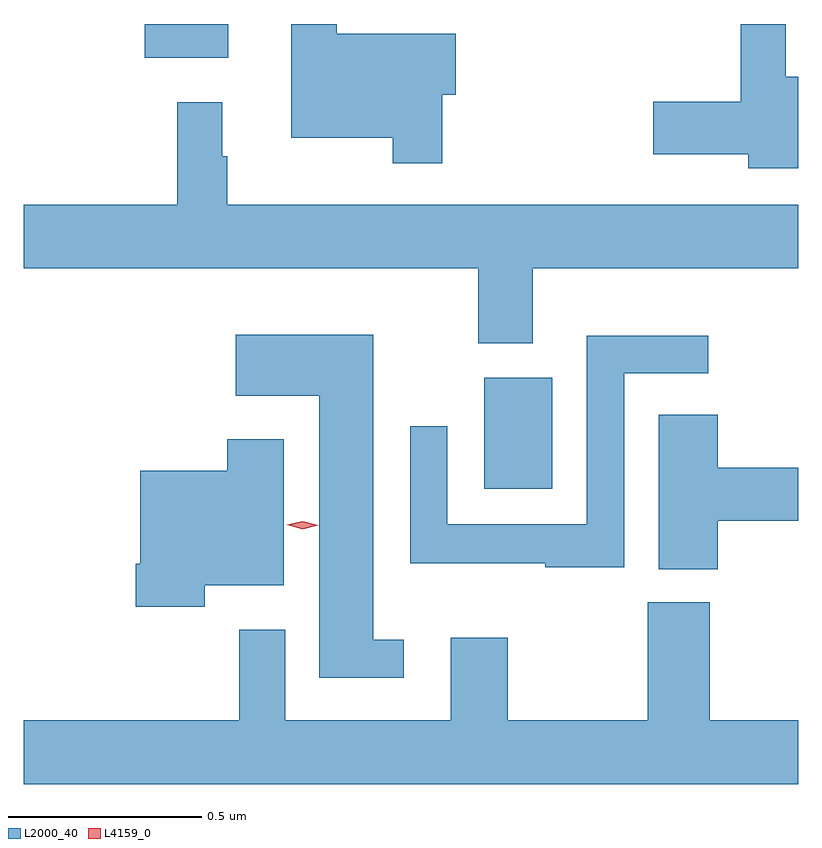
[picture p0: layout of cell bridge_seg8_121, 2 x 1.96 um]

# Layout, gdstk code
import gdstk
lib = gdstk.Library(unit=1e-6, precision=1e-09)
def R(c, l, rs):  # rectangles x0, y0, x1, y1
    for r in rs: c.add(gdstk.rectangle(r[:2], r[2:], *l))
def P(c, l, *ps):  # polygons
    for p in ps: c.add(gdstk.Polygon(p, *l))
L2000_40 = (2000, 40)
L4159_0 = (4159, 0)

bridge_seg8_121 = lib.new_cell('bridge_seg8_121')
R(bridge_seg8_121, L2000_40, [(861.758,1158.554,861.934,1158.841), (860.882,1159.667,861.097,1159.754)])
P(bridge_seg8_121, L2000_40, [(861.65,1159.571),(861.685,1159.571),(861.685,1159.729),(861.377,1159.729),(861.377,1159.754),(861.26,1159.754),(861.26,1159.46),(861.522,1159.46),(861.522,1159.395),(861.65,1159.395)],
  [(862.569,1159.618),(862.536,1159.618),(862.536,1159.754),(862.42,1159.754),(862.42,1159.553),(862.194,1159.553),(862.194,1159.418),(862.439,1159.418),(862.439,1159.382),(862.569,1159.382)],
  [(861.883,1159.124),(862.569,1159.124),(862.569,1159.288),(861.094,1159.288),(861.094,1159.412),(861.082,1159.412),(861.082,1159.552),(860.965,1159.552),(860.965,1159.288),(860.569,1159.288),(860.569,1159.124),(861.743,1159.124),(861.743,1158.93),(861.883,1158.93)],
  [(861.55,1158.164),(861.472,1158.164),(861.472,1158.952),(861.117,1158.952),(861.117,1158.794),(861.332,1158.794),(861.332,1158.066),(861.55,1158.066)],
  [(862.119,1158.852),(862.336,1158.852),(862.336,1158.949),(862.023,1158.949),(862.023,1158.463),(861.663,1158.463),(861.663,1158.715),(861.567,1158.715),(861.567,1158.362),(861.916,1158.362),(861.916,1158.352),(862.119,1158.352)],
  [(862.361,1158.472),(862.569,1158.472),(862.569,1158.608),(862.361,1158.608),(862.361,1158.745),(862.208,1158.745),(862.208,1158.346),(862.361,1158.346)],
  [(861.036,1158.305),(861.241,1158.305),(861.241,1158.682),(861.095,1158.682),(861.095,1158.601),(860.87,1158.601),(860.87,1158.361),(860.858,1158.361),(860.858,1158.249),(861.036,1158.249)],
  [(862.569,1157.956),(862.34,1157.956),(862.34,1158.261),(862.18,1158.261),(862.18,1157.956),(861.819,1157.956),(861.819,1158.169),(861.671,1158.169),(861.671,1157.956),(861.244,1157.956),(861.244,1158.19),(861.126,1158.19),(861.126,1157.956),(860.569,1157.956),(860.569,1157.792),(862.569,1157.792)])
P(bridge_seg8_121, L4159_0, [(861.289,1158.45),(861.248,1158.461),(861.248,1158.461),(861.248,1158.461),(861.289,1158.47),(861.329,1158.46),(861.33,1158.46),(861.329,1158.46)])

lib.write_gds('bridge_seg8_121.gds')
